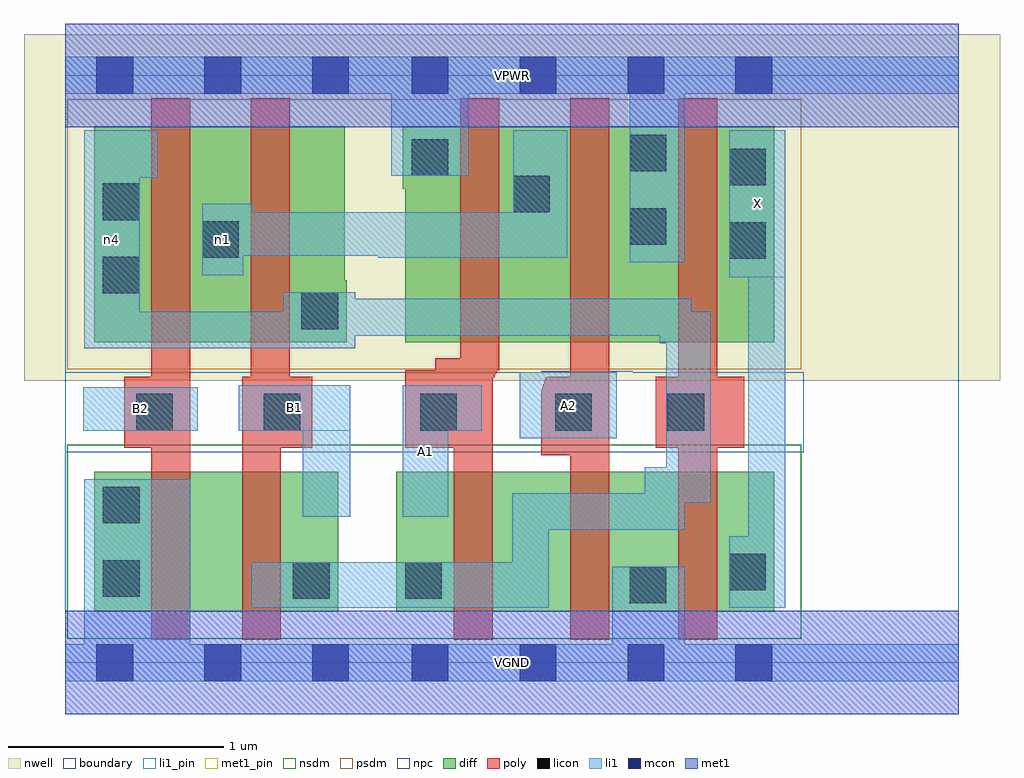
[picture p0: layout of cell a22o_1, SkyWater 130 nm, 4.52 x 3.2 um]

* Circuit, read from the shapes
.subckt a22o_1 A1 A2 B1 B2 VGND VPWR X n1 n4
XM1 n2 B2 VGND VSUBS sky130_fd_pr__nfet_01v8 w=0.65 l=0.18
XM2 n4 B1 n2 VSUBS sky130_fd_pr__nfet_01v8 w=0.65 l=0.18
XM3 n3 A1 n4 VSUBS sky130_fd_pr__nfet_01v8 w=0.65 l=0.18
XM4 VGND A2 n3 VSUBS sky130_fd_pr__nfet_01v8 w=0.65 l=0.18
XM5 X n4 VGND VSUBS sky130_fd_pr__nfet_01v8 w=0.65 l=0.18
XM6 n1 B2 n4 n5 sky130_fd_pr__pfet_01v8 w=1 l=0.18
XM7 n4 B1 n1 n5 sky130_fd_pr__pfet_01v8 w=1 l=0.18
XM8 n1 A1 VPWR n5 sky130_fd_pr__pfet_01v8 w=1 l=0.18
XM9 VPWR A2 n1 n5 sky130_fd_pr__pfet_01v8 w=1 l=0.18
XM10 X n4 VPWR n5 sky130_fd_pr__pfet_01v8 w=1 l=0.18
.ends

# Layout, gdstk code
import gdstk
lib = gdstk.Library(unit=1e-6, precision=1e-09)
def R(c, l, rs):  # rectangles x0, y0, x1, y1
    for r in rs: c.add(gdstk.rectangle(r[:2], r[2:], *l))
def A(c, l, x, y, w, h, nx, ny, dx, dy):  # array of equal rectangles
    R(c, l, [(x+i*dx, y+j*dy, x+i*dx+w, y+j*dy+h) for i in range(nx) for j in range(ny)])
nwell = (64, 20)
diff = (65, 20)
poly = (66, 20)
licon = (66, 44)
li1_pin = (67, 16)
li1 = (67, 20)
mcon = (67, 44)
met1_pin = (68, 16)
met1 = (68, 20)
nsdm = (93, 44)
psdm = (94, 20)
npc = (95, 20)
boundary = (235, 4)

a22o_1 = lib.new_cell('a22o_1')
R(a22o_1, nwell, [(-0.19,1.305,4.33,2.91), (0,1.305,4.14,2.91)])
R(a22o_1, diff, [(0.135,0.235,1.265,0.885), (1.535,0.235,3.285,0.885), (0.135,1.485,1.295,2.485), (0.135,1.485,1.305,1.77), (1.575,1.485,3.285,2.485), (1.565,2.195,3.285,2.485)])
R(a22o_1, poly, [(0.4,0.105,0.58,2.615), (0.82,0.105,1,1.325), (1.8,0.105,1.98,1.41), (2.34,0.105,2.52,2.615), (2.84,0.105,3.02,2.615), (2.205,0.96,2.52,1.265), (2.21,0.96,2.52,1.275), (2.215,0.96,2.52,1.29), (2.22,0.96,2.52,1.305), (2.225,0.96,2.52,1.32), (2.235,0.96,2.52,1.325), (0.275,0.995,0.58,1.325), (0.82,0.995,1.145,1.325), (0.86,0.995,1.04,2.615), (1.575,0.995,1.98,1.355), (2.735,0.995,3.145,1.325), (1.575,1.32,1.985,1.355), (1.575,1.325,1.99,1.355), (1.575,1.335,1.995,1.355), (1.575,1.34,2,1.355), (1.715,1.355,2.01,1.41), (1.83,1.355,2.01,2.615)])
R(a22o_1, licon, [(2.615,0.275,2.785,0.445), (1.055,0.295,1.225,0.465), (1.575,0.295,1.745,0.465), (0.175,0.305,0.345,0.475), (3.075,0.335,3.245,0.505), (0.175,0.645,0.345,0.815), (0.33,1.075,0.5,1.245), (0.92,1.075,1.09,1.245), (1.645,1.075,1.815,1.245), (2.27,1.075,2.44,1.245), (2.79,1.075,2.96,1.245), (1.095,1.545,1.265,1.715), (0.175,1.71,0.345,1.88), (3.075,1.87,3.245,2.04), (0.635,1.875,0.805,2.045), (2.615,1.935,2.785,2.105), (0.175,2.05,0.345,2.22), (2.075,2.085,2.245,2.255), (3.075,2.21,3.245,2.38), (1.605,2.255,1.775,2.425), (2.615,2.275,2.785,2.445)])
R(a22o_1, li1_pin, [(1.565,0.675,1.775,1.285), (2.105,1.04,2.555,1.345), (0.085,1.075,0.615,1.275), (0.805,1.075,1.32,1.285), (3.075,1.785,3.335,2.465)])
R(a22o_1, li1, [(0,-0.085,4.14,0.085), (0.09,-0.085,0.58,0.85), (2.535,-0.085,2.87,0.445), (0.865,0.255,2.24,0.465), (2.07,0.255,2.24,0.785), (3.075,0.255,3.335,0.585), (3.165,0.255,3.335,2.465), (2.07,0.615,2.87,0.785), (2.685,0.615,2.87,0.905), (1.1,0.675,1.32,1.285), (1.565,0.675,1.775,1.285), (2.785,0.74,2.99,1.625), (2.105,1.04,2.555,1.345), (0.085,1.075,0.615,1.275), (0.805,1.075,1.32,1.285), (1.565,1.075,1.93,1.285), (0.09,1.455,0.345,2.465), (0.09,1.455,1.345,1.625), (1.01,1.455,1.345,1.715), (2.755,1.48,2.9,1.685), (1.01,1.515,2.9,1.685), (3.075,1.785,3.335,2.465), (0.635,1.795,0.825,2.125), (2.615,1.855,2.87,2.805), (1.45,1.875,2.325,2.085), (2.075,1.875,2.325,2.465), (0.635,1.885,2.325,2.085), (0.635,1.885,0.87,2.125), (0.09,2.245,0.43,2.465), (1.51,2.255,1.87,2.805), (0,2.635,4.14,2.805)])
A(a22o_1, mcon, 0.145, -0.085, 0.17, 0.17, 3, 2, 0.5, 2.72)
A(a22o_1, mcon, 1.605, -0.085, 0.17, 0.17, 4, 2, 0.5, 2.72)
R(a22o_1, met1_pin, [(0,-0.24,4.14,0.24), (0,2.48,4.14,2.96)])
R(a22o_1, met1, [(0,-0.24,4.14,0.24), (0,2.48,4.14,2.96)])
R(a22o_1, nsdm, [(0.01,0.11,3.41,1.01)])
R(a22o_1, psdm, [(0.01,1.36,3.41,2.61)])
R(a22o_1, npc, [(0,0.975,3.42,1.345), (2.205,0.975,2.63,1.35)])
R(a22o_1, boundary, [(0,0,4.14,2.72)])
a22o_1.add(gdstk.Label('A1', (1.67,0.98), layer=67, texttype=5))
a22o_1.add(gdstk.Label('A2', (2.33,1.192), layer=67, texttype=5))
a22o_1.add(gdstk.Label('B1', (1.062,1.18), layer=67, texttype=5))
a22o_1.add(gdstk.Label('B2', (0.35,1.175), layer=67, texttype=5))
a22o_1.add(gdstk.Label('X', (3.205,2.125), layer=67, texttype=5))
a22o_1.add(gdstk.Label('n4', (0.217,1.96), layer=67, texttype=5))
a22o_1.add(gdstk.Label('n1', (0.73,1.96), layer=67, texttype=5))
a22o_1.add(gdstk.Label('VPWR', (2.07,2.72), layer=68, texttype=5))
a22o_1.add(gdstk.Label('VGND', (2.07,0), layer=68, texttype=5))
a22o_1.add(gdstk.Label('A1', (1.67,0.98), layer=67, texttype=16))
a22o_1.add(gdstk.Label('A2', (2.33,1.192), layer=67, texttype=16))
a22o_1.add(gdstk.Label('B1', (1.062,1.18), layer=67, texttype=16))
a22o_1.add(gdstk.Label('B2', (0.35,1.175), layer=67, texttype=16))
a22o_1.add(gdstk.Label('X', (3.205,2.125), layer=67, texttype=16))
a22o_1.add(gdstk.Label('VPWR', (2.07,2.72), layer=68, texttype=16))
a22o_1.add(gdstk.Label('VGND', (2.07,0), layer=68, texttype=16))

lib.write_gds('a22o_1.gds')
